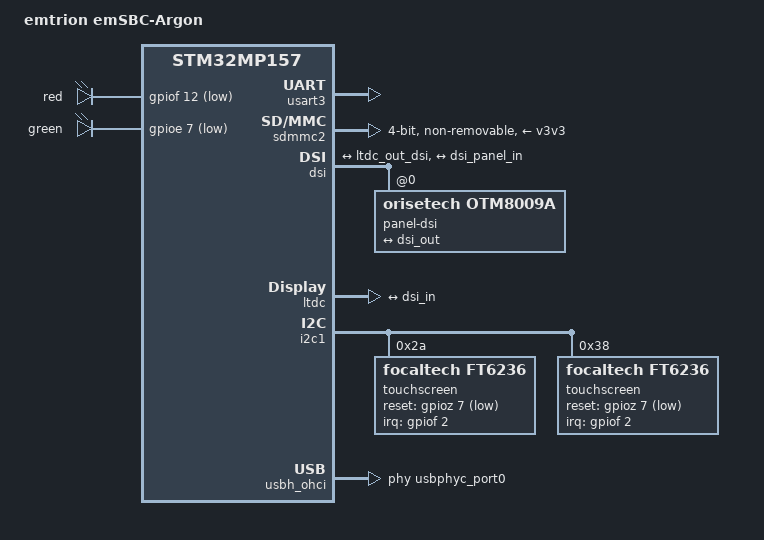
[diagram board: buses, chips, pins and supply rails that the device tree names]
// SPDX-License-Identifier: (GPL-2.0+ OR BSD-3-Clause)
/*
 * Copyright (C) emtrion GmbH 2019 - All Rights Reserved
 * Author: Anthony Harivel <anthony.harivel@emtrion.de>.
 */

/dts-v1/;

#include "stm32mp157c-emstamp-argon.dtsi"

/ {
	model = "emtrion emSBC-Argon";
	compatible = "emtrion,stm32mp157c-emsbc-argon", "st,stm32mp157";

	led: gpio_leds {
		compatible = "gpio-leds";
		led2 {
			label = "red";
			gpios = <&gpiof 12 GPIO_ACTIVE_LOW>;
			linux,default-trigger = "none";
			default-state = "off";
		};
		led3 {
			label = "green";
			gpios = <&gpioe 7 GPIO_ACTIVE_LOW>;
			linux,default-trigger = "none";
			default-state = "off";
		};
	};
};

&usart3 {
	status = "okay";
};

&sdmmc2 {
	arm,primecell-periphid = <0x10153180>;
	pinctrl-names = "default", "opendrain", "sleep";
	pinctrl-0 = <&sdmmc2_b4_pins_b>;
	pinctrl-1 = <&sdmmc2_b4_od_pins_b>;
	pinctrl-2 = <&sdmmc2_b4_sleep_pins_a>;
	non-removable;
	st,neg-edge;
	bus-width = <4>;
	vmmc-supply = <&v3v3>;
	#address-cells = <1>;
	#size-cells = <0>;
	keep-power-in-suspend;
	status = "okay";
};

&dsi {
	#address-cells = <1>;
	#size-cells = <0>;
	status = "okay";

	ports {
		#address-cells = <1>;
		#size-cells = <0>;

		port@0 {
			reg = <0>;
			dsi_in: endpoint {
				remote-endpoint = <&ltdc_out_dsi>;
			};
		};

		port@1 {
			reg = <1>;
			dsi_out: endpoint {
				remote-endpoint = <&dsi_panel_in>;
			};
		};
	};

	panel-dsi@0 {
		compatible = "orisetech,otm8009a";
		reg = <0>;
		rotation = <0>;
		address_mode = <0>;
		status = "okay";

		port {
			dsi_panel_in: endpoint {
				remote-endpoint = <&dsi_out>;
			};
		};
	};
};

&ltdc {
	dma-ranges;
	status = "okay";

	port {
		ltdc_out_dsi: endpoint@0 {
			remote-endpoint = <&dsi_in>;
		};
	};
};

&i2c1 {
	touchscreen@2a {
		compatible = "focaltech,ft6236";
		reg = <0x2a>;
		interrupts = <2 2>;
		interrupt-parent = <&gpiof>;
		interrupt-controller;
		touchscreen-size-x = <480>;
		touchscreen-size-y = <800>;
		reset-gpios = <&gpioz 7 GPIO_ACTIVE_LOW>;
		status = "okay";
	};
	touchscreen@38 {
		compatible = "focaltech,ft6236";
		reg = <0x38>;
		interrupts = <2 2>;
		interrupt-parent = <&gpiof>;
		interrupt-controller;
		touchscreen-size-x = <480>;
		touchscreen-size-y = <800>;
		reset-gpios = <&gpioz 7 GPIO_ACTIVE_LOW>;
		status = "okay";
	};
};

&rtc {
	st,lsco = <RTC_OUT2_RMP>;
	pinctrl-0 = <&rtc_out2_rmp_pins_a>;
	pinctrl-names = "default";
};

/* enable for usb 1.1 low speed */
&usbh_ohci {
	phys = <&usbphyc_port0>;
	phy-names = "usb";
	status = "okay";
};

